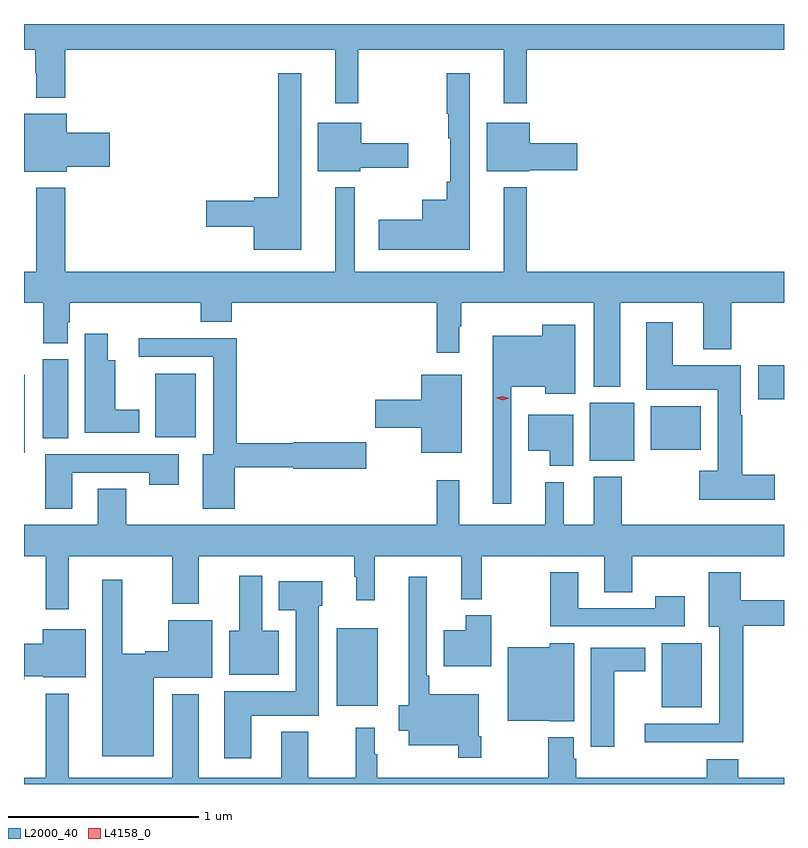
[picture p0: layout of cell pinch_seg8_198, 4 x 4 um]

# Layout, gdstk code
import gdstk
lib = gdstk.Library(unit=1e-6, precision=1e-09)
def R(c, l, rs):  # rectangles x0, y0, x1, y1
    for r in rs: c.add(gdstk.rectangle(r[:2], r[2:], *l))
def P(c, l, *ps):  # polygons
    for p in ps: c.add(gdstk.Polygon(p, *l))
L2000_40 = (2000, 40)
L4158_0 = (4158, 0)

pinch_seg8_198 = lib.new_cell('pinch_seg8_198')
R(pinch_seg8_198, L2000_40, [(691.208,1138.349,691.42,1138.684), (689.498,1138.355,689.713,1138.765), (690.83,1139.645,691.063,1139.95), (687.852,1139.687,687.856,1140.097), (691.151,1139.702,691.414,1139.932), (687.95,1139.764,688.084,1140.18), (688.544,1139.768,688.756,1140.103), (691.716,1139.969,691.852,1140.147)])
P(pinch_seg8_198, L2000_40, [(687.852,1141.808),(687.91,1141.808),(687.91,1141.688),(687.917,1141.688),(687.917,1141.556),(688.07,1141.556),(688.07,1141.808),(689.489,1141.808),(689.489,1141.527),(689.611,1141.527),(689.611,1141.808),(690.377,1141.808),(690.377,1141.527),(690.499,1141.527),(690.499,1141.808),(691.852,1141.808),(691.852,1141.944),(687.852,1141.944)],
  [(690.199,1141.684),(690.078,1141.684),(690.078,1141.471),(690.085,1141.471),(690.085,1141.343),(690.095,1141.343),(690.095,1141.114),(690.078,1141.114),(690.078,1141.018),(689.948,1141.018),(689.948,1140.913),(689.718,1140.913),(689.718,1140.755),(690.199,1140.755)],
  [(689.311,1141.684),(689.19,1141.684),(689.19,1141.031),(689.064,1141.031),(689.064,1141.013),(688.812,1141.013),(688.812,1140.878),(689.06,1140.878),(689.06,1140.755),(689.311,1140.755)],
  [(688.078,1141.193),(688.303,1141.193),(688.303,1141.371),(688.078,1141.371),(688.078,1141.471),(687.852,1141.471),(687.852,1141.166),(688.078,1141.166)],
  [(689.622,1141.187),(689.875,1141.187),(689.875,1141.317),(689.626,1141.317),(689.626,1141.423),(689.399,1141.423),(689.399,1141.169),(689.622,1141.169)],
  [(690.51,1141.175),(690.763,1141.175),(690.763,1141.317),(690.514,1141.317),(690.514,1141.423),(690.287,1141.423),(690.287,1141.169),(690.51,1141.169)],
  [(690.991,1140.476),(691.427,1140.476),(691.427,1140.233),(691.575,1140.233),(691.575,1140.476),(691.852,1140.476),(691.852,1140.64),(690.499,1140.64),(690.499,1141.084),(690.377,1141.084),(690.377,1140.64),(689.593,1140.64),(689.593,1141.084),(689.489,1141.084),(689.489,1140.64),(688.07,1140.64),(688.07,1141.081),(687.917,1141.081),(687.917,1140.64),(687.852,1140.64),(687.852,1140.476),(687.953,1140.476),(687.953,1140.265),(688.081,1140.265),(688.081,1140.375),(688.094,1140.375),(688.094,1140.476),(688.781,1140.476),(688.781,1140.377),(688.946,1140.377),(688.946,1140.476),(690.025,1140.476),(690.025,1140.213),(690.142,1140.213),(690.142,1140.353),(690.154,1140.353),(690.154,1140.476),(690.851,1140.476),(690.851,1140.035),(690.991,1140.035)],
  [(691.804,1139.571),(691.632,1139.571),(691.632,1139.885),(691.624,1139.885),(691.624,1140.148),(691.267,1140.148),(691.267,1140.373),(691.127,1140.373),(691.127,1140.02),(691.502,1140.02),(691.502,1139.593),(691.407,1139.593),(691.407,1139.441),(691.804,1139.441)],
  [(690.417,1140.035),(690.596,1140.035),(690.596,1139.999),(690.754,1139.999),(690.754,1140.361),(690.579,1140.361),(690.579,1140.304),(690.32,1140.304),(690.32,1139.418),(690.417,1139.418)],
  [(688.459,1139.914),(688.333,1139.914),(688.333,1140.175),(688.294,1140.175),(688.294,1140.313),(688.172,1140.313),(688.172,1139.792),(688.459,1139.792)],
  [(688.96,1139.61),(689.268,1139.61),(689.268,1139.602),(689.653,1139.602),(689.653,1139.744),(689.268,1139.744),(689.268,1139.738),(688.973,1139.738),(688.973,1140.29),(688.455,1140.29),(688.455,1140.192),(688.847,1140.192),(688.847,1139.68),(688.793,1139.68),(688.793,1139.394),(688.96,1139.394)],
  [(690.157,1140.097),(689.942,1140.097),(689.942,1139.966),(689.7,1139.966),(689.7,1139.819),(689.942,1139.819),(689.942,1139.687),(690.157,1139.687)],
  [(690.742,1139.887),(690.506,1139.887),(690.506,1139.699),(690.62,1139.699),(690.62,1139.618),(690.742,1139.618)],
  [(688.105,1139.583),(688.51,1139.583),(688.51,1139.52),(688.666,1139.52),(688.666,1139.679),(687.965,1139.679),(687.965,1139.394),(688.105,1139.394)],
  [(688.087,1139.144),(688.631,1139.144),(688.631,1138.892),(688.771,1138.892),(688.771,1139.144),(689.589,1139.144),(689.589,1139.036),(689.6,1139.036),(689.6,1138.911),(689.699,1138.911),(689.699,1139.144),(690.152,1139.144),(690.152,1138.916),(690.262,1138.916),(690.262,1139.144),(690.905,1139.144),(690.905,1138.954),(691.053,1138.954),(691.053,1139.144),(691.852,1139.144),(691.852,1139.308),(690.999,1139.308),(690.999,1139.56),(690.851,1139.56),(690.851,1139.308),(690.694,1139.308),(690.694,1139.533),(690.596,1139.533),(690.596,1139.308),(690.143,1139.308),(690.143,1139.542),(690.025,1139.542),(690.025,1139.308),(688.389,1139.308),(688.389,1139.498),(688.241,1139.498),(688.241,1139.308),(687.852,1139.308),(687.852,1139.144),(687.966,1139.144),(687.966,1138.863),(688.087,1138.863)],
  [(691.33,1138.933),(691.174,1138.933),(691.174,1138.869),(690.769,1138.869),(690.769,1139.059),(690.622,1139.059),(690.622,1138.773),(691.33,1138.773)],
  [(691.637,1138.778),(691.852,1138.778),(691.852,1138.912),(691.624,1138.912),(691.624,1139.059),(691.457,1139.059),(691.457,1138.772),(691.511,1138.772),(691.511,1138.26),(691.119,1138.26),(691.119,1138.163),(691.637,1138.163)],
  [(689.194,1138.75),(689.107,1138.75),(689.107,1139.041),(688.985,1139.041),(688.985,1138.75),(688.931,1138.75),(688.931,1138.52),(689.194,1138.52)],
  [(690.259,1138.195),(690.246,1138.195),(690.246,1138.417),(689.986,1138.417),(689.986,1138.513),(689.973,1138.513),(689.973,1139.035),(689.876,1139.035),(689.876,1138.358),(689.825,1138.358),(689.825,1138.223),(689.876,1138.223),(689.876,1138.148),(690.138,1138.148),(690.138,1138.083),(690.259,1138.083)],
  [(688.534,1138.502),(688.843,1138.502),(688.843,1138.807),(688.61,1138.807),(688.61,1138.643),(688.49,1138.643),(688.49,1138.63),(688.369,1138.63),(688.369,1139.02),(688.265,1139.02),(688.265,1138.091),(688.534,1138.091)],
  [(689.047,1138.304),(689.404,1138.304),(689.404,1138.881),(689.422,1138.881),(689.422,1139.011),(689.192,1139.011),(689.192,1138.859),(689.282,1138.859),(689.282,1138.432),(688.907,1138.432),(688.907,1138.08),(689.047,1138.08)],
  [(690.31,1138.831),(690.176,1138.831),(690.176,1138.753),(690.062,1138.753),(690.062,1138.565),(690.31,1138.565)],
  [(687.854,1138.511),(687.954,1138.511),(687.954,1138.505),(688.177,1138.505),(688.177,1138.759),(687.95,1138.759),(687.95,1138.681),(687.852,1138.681),(687.852,1138.492),(687.854,1138.492)],
  [(690.748,1138.684),(690.618,1138.684),(690.618,1138.663),(690.398,1138.663),(690.398,1138.277),(690.618,1138.277),(690.618,1138.274),(690.748,1138.274)],
  [(690.958,1138.538),(691.123,1138.538),(691.123,1138.66),(690.836,1138.66),(690.836,1138.14),(690.958,1138.14)],
  [(691.852,1137.976),(691.61,1137.976),(691.61,1138.075),(691.445,1138.075),(691.445,1137.976),(690.758,1137.976),(690.758,1138.077),(690.745,1138.077),(690.745,1138.189),(690.61,1138.189),(690.61,1137.976),(689.71,1137.976),(689.71,1138.1),(689.697,1138.1),(689.697,1138.24),(689.599,1138.24),(689.599,1137.976),(689.347,1137.976),(689.347,1138.219),(689.207,1138.219),(689.207,1137.976),(688.771,1137.976),(688.771,1138.417),(688.631,1138.417),(688.631,1137.976),(688.087,1137.976),(688.087,1138.42),(687.966,1138.42),(687.966,1137.976),(687.852,1137.976),(687.852,1137.944),(691.852,1137.944)])
P(pinch_seg8_198, L4158_0, [(690.371,1139.965),(690.336,1139.976),(690.336,1139.976),(690.336,1139.977),(690.372,1139.985),(690.407,1139.973),(690.407,1139.973),(690.407,1139.973)])

lib.write_gds('pinch_seg8_198.gds')
